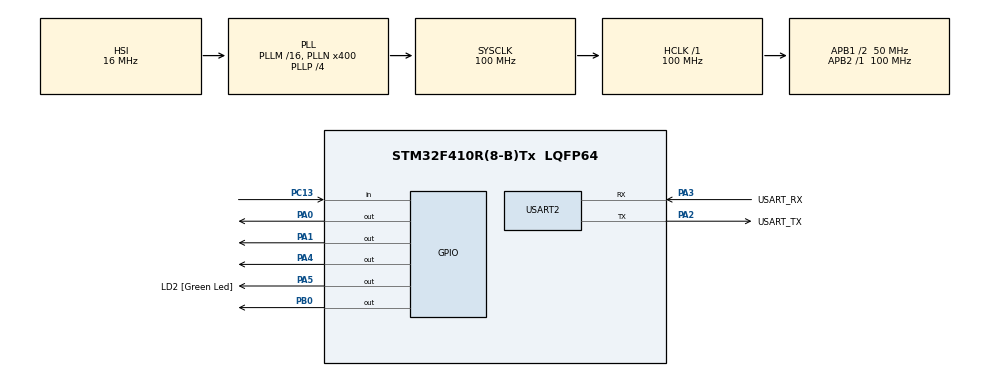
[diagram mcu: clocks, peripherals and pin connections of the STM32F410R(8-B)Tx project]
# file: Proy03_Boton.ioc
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Mcu.Family=STM32F4
Mcu.Name=STM32F410R(8-B)Tx
Mcu.Package=LQFP64
NVIC.PriorityGroup=NVIC_PRIORITYGROUP_0
PA0-WKUP.Signal=GPIO_Output
PA1.Signal=GPIO_Output
PA13.GPIO_Label=TMS
PA13.Mode=Serial_Wire
PA13.Signal=SYS_JTMS-SWDIO
PA14.GPIO_Label=TCK
PA14.Mode=Serial_Wire
PA14.Signal=SYS_JTCK-SWCLK
PA2.GPIO_Label=USART_TX
PA2.Mode=Asynchronous
PA2.Signal=USART2_TX
PA3.GPIO_Label=USART_RX
PA3.Mode=Asynchronous
PA3.Signal=USART2_RX
PA4.Signal=GPIO_Output
PA5.GPIO_Label=LD2 [Green Led]
PA5.Signal=GPIO_Output
PB0.Signal=GPIO_Output
PB3.GPIO_Label=SWO
PB3.Signal=SYS_JTDO-SWO
PC13-ANTI_TAMP.Signal=GPIO_Input
PC14-OSC32_IN.Mode=LSE-External-Oscillator
PC14-OSC32_IN.Signal=RCC_OSC32_IN
PC15-OSC32_OUT.Mode=LSE-External-Oscillator
PC15-OSC32_OUT.Signal=RCC_OSC32_OUT
PH0\ -\ OSC_IN.Mode=HSE-External-Clock-Source
PH0\ -\ OSC_IN.Signal=RCC_OSC_IN
PH1\ -\ OSC_OUT.Mode=HSE-External-Clock-Source
PH1\ -\ OSC_OUT.Signal=RCC_OSC_OUT
ProjectManager.HeapSize=0x200
ProjectManager.StackSize=0x400
ProjectManager.TargetToolchain=STM32CubeIDE
RCC.48MHZClocksFreq_Value=100000000
RCC.AHBFreq_Value=100000000
RCC.APB1CLKDivider=RCC_HCLK_DIV2
RCC.APB1Freq_Value=50000000
RCC.APB1TimFreq_Value=100000000
RCC.APB2Freq_Value=100000000
RCC.APB2TimFreq_Value=100000000
RCC.CortexFreq_Value=100000000
RCC.FLatency-AdvancedSettings=FLASH_LATENCY_3
RCC.HCLKFreq_Value=100000000
RCC.HSE_VALUE=8000000
RCC.HSI_VALUE=16000000
RCC.PLLN=400
RCC.PLLP=RCC_PLLP_DIV4
RCC.SYSCLKFreq_VALUE=100000000
RCC.SYSCLKSource=RCC_SYSCLKSOURCE_PLLCLK
RCC.VCOOutputFreq_Value=400000000
USART2.VirtualMode=VM_ASYNC
board=NUCLEO-F410RB

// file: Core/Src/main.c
/* USER CODE BEGIN Header */
/**
  ******************************************************************************
  Practica 3 - Boton

  Equipo:
  Antonio Yañez Hernandez
  Cristopher Rodrigues Perez
  Jesus Roberto Hernandez Benitez

  Pines Usados para Configurar:
  PIN_A0, PIN_A1, PIN_A4 Y PIN_B0

  Descripcion:
  Consiste en que se prende una serie de leds consecutivos y
  al presionar el boton que esta en la tarjeta se cambian de dirreccion
  el encedido de los leds.

  ******************************************************************************
  */
/* USER CODE END Header */
#include "main.h"

UART_HandleTypeDef huart2;

/* USER CODE BEGIN PV */
uint16_t retardo;
/* USER CODE END PV */

void SystemClock_Config(void);
static void MX_GPIO_Init(void);
static void MX_USART2_UART_Init(void);

int main(void)
{

  /* USER CODE BEGIN 1 */
	retardo = 250;
  /* USER CODE END 1 */

  /* MCU Configuration--------------------------------------------------------*/

  /* Reset of all peripherals, Initializes the Flash interface and the Systick. */
  HAL_Init();

  /* Configure the system clock */
  SystemClock_Config();

  /* Initialize all configured peripherals */
  MX_GPIO_Init();
  MX_USART2_UART_Init();

  /* Infinite loop */
  /* USER CODE BEGIN WHILE */
  while (1)
  {

	 if(HAL_GPIO_ReadPin(GPIOC, GPIO_PIN_13)==1)
	 {
		  HAL_GPIO_WritePin(GPIOB, GPIO_PIN_0, GPIO_PIN_RESET);
		  HAL_GPIO_WritePin(GPIOA, GPIO_PIN_0, GPIO_PIN_SET);
		  HAL_Delay(retardo);

		  HAL_GPIO_WritePin(GPIOA, GPIO_PIN_0, GPIO_PIN_RESET);
		  HAL_GPIO_WritePin(GPIOA, GPIO_PIN_1, GPIO_PIN_SET);
		  HAL_Delay(retardo);

		  HAL_GPIO_WritePin(GPIOA, GPIO_PIN_1, GPIO_PIN_RESET);
		  HAL_GPIO_WritePin(GPIOA, GPIO_PIN_4, GPIO_PIN_SET);
		  HAL_Delay(retardo);

		  HAL_GPIO_WritePin(GPIOA, GPIO_PIN_4, GPIO_PIN_RESET);
		  HAL_GPIO_WritePin(GPIOB, GPIO_PIN_0, GPIO_PIN_SET);
		  HAL_Delay(retardo);
	 }
	 else
	 {
		 HAL_GPIO_WritePin(GPIOA, GPIO_PIN_1, GPIO_PIN_RESET);
		 HAL_GPIO_WritePin(GPIOA, GPIO_PIN_0, GPIO_PIN_SET);
		 HAL_Delay(retardo);

		 HAL_GPIO_WritePin(GPIOA, GPIO_PIN_0, GPIO_PIN_RESET);
		 HAL_GPIO_WritePin(GPIOB, GPIO_PIN_0, GPIO_PIN_SET);
		 HAL_Delay(retardo);

		 HAL_GPIO_WritePin(GPIOB, GPIO_PIN_0, GPIO_PIN_RESET);
		 HAL_GPIO_WritePin(GPIOA, GPIO_PIN_4, GPIO_PIN_SET);
		 HAL_Delay(retardo);

		 HAL_GPIO_WritePin(GPIOA, GPIO_PIN_4, GPIO_PIN_RESET);
		 HAL_GPIO_WritePin(GPIOA, GPIO_PIN_1, GPIO_PIN_SET);
		 HAL_Delay(retardo);
	 }
    /* USER CODE END WHILE */

  }
}

void SystemClock_Config(void)
{
  RCC_OscInitTypeDef RCC_OscInitStruct = {0};
  RCC_ClkInitTypeDef RCC_ClkInitStruct = {0};

  /** Configure the main internal regulator output voltage
  */
  __HAL_RCC_PWR_CLK_ENABLE();
  __HAL_PWR_VOLTAGESCALING_CONFIG(PWR_REGULATOR_VOLTAGE_SCALE1);

  /** Initializes the RCC Oscillators according to the specified parameters
  * in the RCC_OscInitTypeDef structure.
  */
  RCC_OscInitStruct.OscillatorType = RCC_OSCILLATORTYPE_HSI;
  RCC_OscInitStruct.HSIState = RCC_HSI_ON;
  RCC_OscInitStruct.HSICalibrationValue = RCC_HSICALIBRATION_DEFAULT;
  RCC_OscInitStruct.PLL.PLLState = RCC_PLL_ON;
  RCC_OscInitStruct.PLL.PLLSource = RCC_PLLSOURCE_HSI;
  RCC_OscInitStruct.PLL.PLLM = 16;
  RCC_OscInitStruct.PLL.PLLN = 400;
  RCC_OscInitStruct.PLL.PLLP = RCC_PLLP_DIV4;
  RCC_OscInitStruct.PLL.PLLQ = 4;
  RCC_OscInitStruct.PLL.PLLR = 2;
  if (HAL_RCC_OscConfig(&RCC_OscInitStruct) != HAL_OK)
  {
    Error_Handler();
  }

  /** Initializes the CPU, AHB and APB buses clocks
  */
  RCC_ClkInitStruct.ClockType = RCC_CLOCKTYPE_HCLK|RCC_CLOCKTYPE_SYSCLK
                              |RCC_CLOCKTYPE_PCLK1|RCC_CLOCKTYPE_PCLK2;
  RCC_ClkInitStruct.SYSCLKSource = RCC_SYSCLKSOURCE_PLLCLK;
  RCC_ClkInitStruct.AHBCLKDivider = RCC_SYSCLK_DIV1;
  RCC_ClkInitStruct.APB1CLKDivider = RCC_HCLK_DIV2;
  RCC_ClkInitStruct.APB2CLKDivider = RCC_HCLK_DIV1;

  if (HAL_RCC_ClockConfig(&RCC_ClkInitStruct, FLASH_LATENCY_3) != HAL_OK)
  {
    Error_Handler();
  }
}

static void MX_USART2_UART_Init(void)
{

  huart2.Instance = USART2;
  huart2.Init.BaudRate = 115200;
  huart2.Init.WordLength = UART_WORDLENGTH_8B;
  huart2.Init.StopBits = UART_STOPBITS_1;
  huart2.Init.Parity = UART_PARITY_NONE;
  huart2.Init.Mode = UART_MODE_TX_RX;
  huart2.Init.HwFlowCtl = UART_HWCONTROL_NONE;
  huart2.Init.OverSampling = UART_OVERSAMPLING_16;
  if (HAL_UART_Init(&huart2) != HAL_OK)
  {
    Error_Handler();
  }

}

static void MX_GPIO_Init(void)
{
  GPIO_InitTypeDef GPIO_InitStruct = {0};

  /* GPIO Ports Clock Enable */
  __HAL_RCC_GPIOC_CLK_ENABLE();
  __HAL_RCC_GPIOH_CLK_ENABLE();
  __HAL_RCC_GPIOA_CLK_ENABLE();
  __HAL_RCC_GPIOB_CLK_ENABLE();

  /*Configure GPIO pin Output Level */
  HAL_GPIO_WritePin(GPIOA, GPIO_PIN_0|GPIO_PIN_1|GPIO_PIN_4|LD2_Pin, GPIO_PIN_RESET);

  /*Configure GPIO pin Output Level */
  HAL_GPIO_WritePin(GPIOB, GPIO_PIN_0, GPIO_PIN_RESET);

  /*Configure GPIO pin : PC13 */
  GPIO_InitStruct.Pin = GPIO_PIN_13;
  GPIO_InitStruct.Mode = GPIO_MODE_INPUT;
  GPIO_InitStruct.Pull = GPIO_NOPULL;
  HAL_GPIO_Init(GPIOC, &GPIO_InitStruct);

  /*Configure GPIO pins : PA0 PA1 PA4 LD2_Pin */
  GPIO_InitStruct.Pin = GPIO_PIN_0|GPIO_PIN_1|GPIO_PIN_4|LD2_Pin;
  GPIO_InitStruct.Mode = GPIO_MODE_OUTPUT_PP;
  GPIO_InitStruct.Pull = GPIO_NOPULL;
  GPIO_InitStruct.Speed = GPIO_SPEED_FREQ_LOW;
  HAL_GPIO_Init(GPIOA, &GPIO_InitStruct);

  /*Configure GPIO pin : PB0 */
  GPIO_InitStruct.Pin = GPIO_PIN_0;
  GPIO_InitStruct.Mode = GPIO_MODE_OUTPUT_PP;
  GPIO_InitStruct.Pull = GPIO_NOPULL;
  GPIO_InitStruct.Speed = GPIO_SPEED_FREQ_LOW;
  HAL_GPIO_Init(GPIOB, &GPIO_InitStruct);

}

void Error_Handler(void)
{
  __disable_irq();
  while (1)
  {
  }
}
